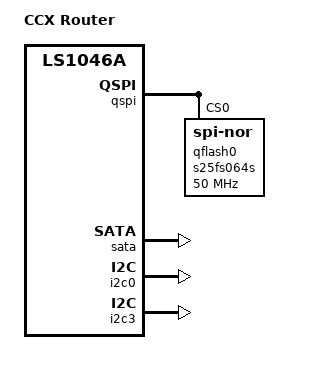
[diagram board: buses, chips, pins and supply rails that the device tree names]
// SPDX-License-Identifier: GPL-2.0+ OR X11
/*
 * Copyright 2019, CCX Technologies
 *
 */

/dts-v1/;
/include/ "fsl-ls1046a.dtsi"

/ {
	model = "CCX Router";

	aliases {
		spi0 = &qspi;
	};

};

&qspi {
	bus-num = <0>;
	status = "okay";

	qflash0: s25fs064s@0 {
		#address-cells = <1>;
		#size-cells = <1>;
		compatible = "jedec,spi-nor";
		spi-max-frequency = <50000000>;
		reg = <0>;
	};

};

&sata {
	status = "okay";
};

&i2c0 {
	status = "okay";
};

&i2c3 {
	status = "okay";
};
